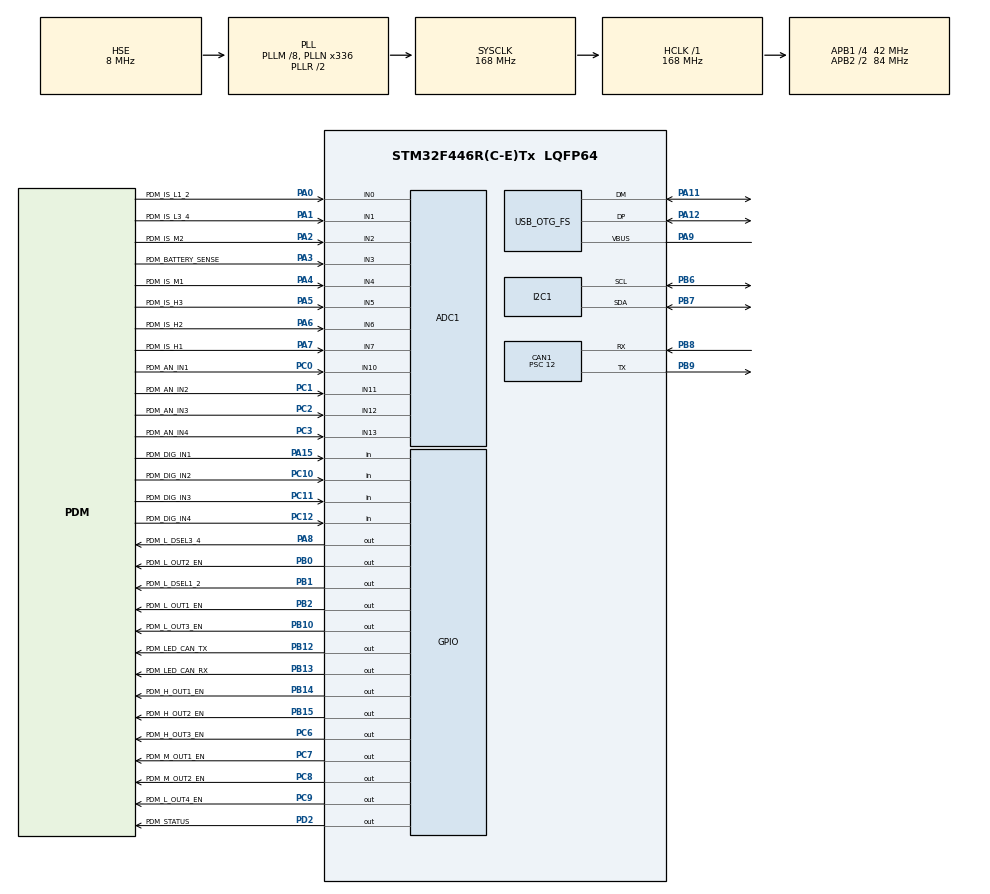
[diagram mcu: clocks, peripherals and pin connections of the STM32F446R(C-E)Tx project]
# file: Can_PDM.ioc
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ADC1.Channel-0\#ChannelRegularConversion=ADC_CHANNEL_7
ADC1.Channel-1\#ChannelRegularConversion=ADC_CHANNEL_6
ADC1.Channel-10\#ChannelRegularConversion=ADC_CHANNEL_13
ADC1.Channel-11\#ChannelRegularConversion=ADC_CHANNEL_3
ADC1.Channel-2\#ChannelRegularConversion=ADC_CHANNEL_5
ADC1.Channel-3\#ChannelRegularConversion=ADC_CHANNEL_4
ADC1.Channel-4\#ChannelRegularConversion=ADC_CHANNEL_2
ADC1.Channel-5\#ChannelRegularConversion=ADC_CHANNEL_0
ADC1.Channel-6\#ChannelRegularConversion=ADC_CHANNEL_1
ADC1.Channel-7\#ChannelRegularConversion=ADC_CHANNEL_10
ADC1.Channel-8\#ChannelRegularConversion=ADC_CHANNEL_11
ADC1.Channel-9\#ChannelRegularConversion=ADC_CHANNEL_12
ADC1.ContinuousConvMode=ENABLE
ADC1.DMAContinuousRequests=ENABLE
ADC1.NbrOfConversion=12
ADC1.NbrOfConversionFlag=1
ADC1.Rank-0\#ChannelRegularConversion=1
ADC1.Rank-1\#ChannelRegularConversion=2
ADC1.Rank-10\#ChannelRegularConversion=11
ADC1.Rank-11\#ChannelRegularConversion=12
ADC1.Rank-2\#ChannelRegularConversion=3
ADC1.Rank-3\#ChannelRegularConversion=4
ADC1.Rank-4\#ChannelRegularConversion=5
ADC1.Rank-5\#ChannelRegularConversion=6
ADC1.Rank-6\#ChannelRegularConversion=7
ADC1.Rank-7\#ChannelRegularConversion=8
ADC1.Rank-8\#ChannelRegularConversion=9
ADC1.Rank-9\#ChannelRegularConversion=10
ADC1.SamplingTime-0\#ChannelRegularConversion=ADC_SAMPLETIME_84CYCLES
ADC1.SamplingTime-1\#ChannelRegularConversion=ADC_SAMPLETIME_84CYCLES
ADC1.SamplingTime-10\#ChannelRegularConversion=ADC_SAMPLETIME_84CYCLES
ADC1.SamplingTime-11\#ChannelRegularConversion=ADC_SAMPLETIME_84CYCLES
ADC1.SamplingTime-2\#ChannelRegularConversion=ADC_SAMPLETIME_84CYCLES
ADC1.SamplingTime-3\#ChannelRegularConversion=ADC_SAMPLETIME_84CYCLES
ADC1.SamplingTime-4\#ChannelRegularConversion=ADC_SAMPLETIME_84CYCLES
ADC1.SamplingTime-5\#ChannelRegularConversion=ADC_SAMPLETIME_84CYCLES
ADC1.SamplingTime-6\#ChannelRegularConversion=ADC_SAMPLETIME_84CYCLES
ADC1.SamplingTime-7\#ChannelRegularConversion=ADC_SAMPLETIME_84CYCLES
ADC1.SamplingTime-8\#ChannelRegularConversion=ADC_SAMPLETIME_84CYCLES
ADC1.SamplingTime-9\#ChannelRegularConversion=ADC_SAMPLETIME_84CYCLES
ADC1.ScanConvMode=ENABLE
ADC1.master=1
CAN1.BS1=CAN_BS1_11TQ
CAN1.BS2=CAN_BS2_2TQ
CAN1.CalculateBaudRate=250000
CAN1.CalculateTimeBit=4000
CAN1.CalculateTimeQuantum=285.7142857142857
CAN1.Prescaler=12
Dma.ADC1.0.Direction=DMA_PERIPH_TO_MEMORY
Dma.ADC1.0.FIFOMode=DMA_FIFOMODE_DISABLE
Dma.ADC1.0.Instance=DMA2_Stream0
Dma.ADC1.0.MemDataAlignment=DMA_MDATAALIGN_HALFWORD
Dma.ADC1.0.MemInc=DMA_MINC_ENABLE
Dma.ADC1.0.Mode=DMA_CIRCULAR
Dma.ADC1.0.PeriphDataAlignment=DMA_PDATAALIGN_HALFWORD
Dma.ADC1.0.PeriphInc=DMA_PINC_DISABLE
Dma.ADC1.0.Priority=DMA_PRIORITY_LOW
Dma.Request0=ADC1
FREERTOS.Tasks01=defaultTask,0,128,StartDefaultTask,Default,NULL,Dynamic,NULL,NULL
Mcu.Family=STM32F4
Mcu.Name=STM32F446R(C-E)Tx
Mcu.Package=LQFP64
NVIC.CAN1_RX0_IRQn=true\:5\:0\:false\:false\:true\:true\:true\:true\:true
NVIC.DMA2_Stream0_IRQn=true\:5\:0\:false\:false\:true\:true\:false\:true\:true
NVIC.OTG_FS_IRQn=true\:5\:0\:false\:false\:true\:true\:false\:true\:true
NVIC.PriorityGroup=NVIC_PRIORITYGROUP_4
NVIC.TIM6_DAC_IRQn=true\:15\:0\:false\:false\:true\:false\:false\:true\:true
NVIC.TimeBase=TIM6_DAC_IRQn
NVIC.TimeBaseIP=TIM6
PA0-WKUP.GPIO_Label=PDM_IS_L1_2
PA0-WKUP.Signal=ADCx_IN0
PA1.GPIO_Label=PDM_IS_L3_4
PA1.Signal=ADCx_IN1
PA11.Mode=Device_Only
PA11.Signal=USB_OTG_FS_DM
PA12.Mode=Device_Only
PA12.Signal=USB_OTG_FS_DP
PA13.Mode=Trace_Asynchronous_SW
PA13.Signal=SYS_JTMS-SWDIO
PA14.Mode=Trace_Asynchronous_SW
PA14.Signal=SYS_JTCK-SWCLK
PA15.GPIO_Label=PDM_DIG_IN1
PA15.Signal=GPIO_Input
PA2.GPIO_Label=PDM_IS_M2
PA2.Signal=ADCx_IN2
PA3.GPIO_Label=PDM_BATTERY_SENSE
PA3.Signal=ADCx_IN3
PA4.GPIO_Label=PDM_IS_M1
PA4.Signal=ADCx_IN4
PA5.GPIO_Label=PDM_IS_H3
PA5.Signal=ADCx_IN5
PA6.GPIO_Label=PDM_IS_H2
PA6.Signal=ADCx_IN6
PA7.GPIO_Label=PDM_IS_H1
PA7.Signal=ADCx_IN7
PA8.GPIO_Label=PDM_L_DSEL3_4
PA8.Signal=GPIO_Output
PA9.Mode=Activate_VBUS
PA9.Signal=USB_OTG_FS_VBUS
PB0.GPIO_Label=PDM_L_OUT2_EN
PB0.Signal=GPIO_Output
PB1.GPIO_Label=PDM_L_DSEL1_2
PB1.Signal=GPIO_Output
PB10.GPIO_Label=PDM_L_OUT3_EN
PB10.Signal=GPIO_Output
PB12.GPIO_Label=PDM_LED_CAN_TX
PB12.Signal=GPIO_Output
PB13.GPIO_Label=PDM_LED_CAN_RX
PB13.Signal=GPIO_Output
PB14.GPIO_Label=PDM_H_OUT1_EN
PB14.Signal=GPIO_Output
PB15.GPIO_Label=PDM_H_OUT2_EN
PB15.Signal=GPIO_Output
PB2.GPIO_Label=PDM_L_OUT1_EN
PB2.Signal=GPIO_Output
PB3.Mode=Trace_Asynchronous_SW
PB3.Signal=SYS_JTDO-SWO
PB6.Mode=I2C
PB6.Signal=I2C1_SCL
PB7.Mode=I2C
PB7.Signal=I2C1_SDA
PB8.Mode=CAN_Activate
PB8.Signal=CAN1_RX
PB9.Mode=CAN_Activate
PB9.Signal=CAN1_TX
PC0.GPIO_Label=PDM_AN_IN1
PC0.Signal=ADCx_IN10
PC1.GPIO_Label=PDM_AN_IN2
PC1.Signal=ADCx_IN11
PC10.GPIO_Label=PDM_DIG_IN2
PC10.Signal=GPIO_Input
PC11.GPIO_Label=PDM_DIG_IN3
PC11.Signal=GPIO_Input
PC12.GPIO_Label=PDM_DIG_IN4
PC12.Signal=GPIO_Input
PC2.GPIO_Label=PDM_AN_IN3
PC2.Signal=ADCx_IN12
PC3.GPIO_Label=PDM_AN_IN4
PC3.Signal=ADCx_IN13
PC6.GPIO_Label=PDM_H_OUT3_EN
PC6.Signal=GPIO_Output
PC7.GPIO_Label=PDM_M_OUT1_EN
PC7.Signal=GPIO_Output
PC8.GPIO_Label=PDM_M_OUT2_EN
PC8.Signal=GPIO_Output
PC9.GPIO_Label=PDM_L_OUT4_EN
PC9.Signal=GPIO_Output
PD2.GPIO_Label=PDM_STATUS
PD2.Signal=GPIO_Output
PH0-OSC_IN.Mode=HSE-External-Oscillator
PH0-OSC_IN.Signal=RCC_OSC_IN
PH1-OSC_OUT.Mode=HSE-External-Oscillator
PH1-OSC_OUT.Signal=RCC_OSC_OUT
ProjectManager.HeapSize=0x200
ProjectManager.StackSize=0x400
ProjectManager.TargetToolchain=STM32CubeIDE
RCC.AHBFreq_Value=168000000
RCC.APB1CLKDivider=RCC_HCLK_DIV4
RCC.APB1Freq_Value=42000000
RCC.APB1TimFreq_Value=84000000
RCC.APB2CLKDivider=RCC_HCLK_DIV2
RCC.APB2Freq_Value=84000000
RCC.APB2TimFreq_Value=168000000
RCC.CortexFreq_Value=168000000
RCC.HCLKFreq_Value=168000000
RCC.HSE_VALUE=8000000
RCC.PLLM=8
RCC.PLLN=336
RCC.PLLQ=7
RCC.SYSCLKFreq_VALUE=168000000
RCC.SYSCLKSource=RCC_SYSCLKSOURCE_PLLRCLK
RCC.USBFreq_Value=48000000
RCC.VCOOutputFreq_Value=336000000
SH.ADCx_IN0.0=ADC1_IN0,IN0
SH.ADCx_IN1.0=ADC1_IN1,IN1
SH.ADCx_IN10.0=ADC1_IN10,IN10
SH.ADCx_IN11.0=ADC1_IN11,IN11
SH.ADCx_IN12.0=ADC1_IN12,IN12
SH.ADCx_IN13.0=ADC1_IN13,IN13
SH.ADCx_IN2.0=ADC1_IN2,IN2
SH.ADCx_IN3.0=ADC1_IN3,IN3
SH.ADCx_IN4.0=ADC1_IN4,IN4
SH.ADCx_IN5.0=ADC1_IN5,IN5
SH.ADCx_IN6.0=ADC1_IN6,IN6
SH.ADCx_IN7.0=ADC1_IN7,IN7
USB_DEVICE.CLASS_NAME_FS=DFU
USB_DEVICE.VirtualMode-DFU_FS=Dfu
USB_DEVICE.VirtualModeFS=Dfu_FS
USB_OTG_FS.VirtualMode=Device_Only
VP_FREERTOS_VS_CMSIS_V1.Mode=CMSIS_V1
VP_SYS_VS_tim6.Mode=TIM6
VP_USB_DEVICE_VS_USB_DEVICE_DFU_FS.Mode=DFU_FS
board=custom

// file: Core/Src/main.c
/* USER CODE BEGIN Header */
/**
  ******************************************************************************
  * @file           : main.c
  * @brief          : Main program body
  ******************************************************************************
  * @attention
  *
  * Copyright (c) 2026 STMicroelectronics.
  * All rights reserved.
  *
  * This software is licensed under terms that can be found in the LICENSE file
  * in the root directory of this software component.
  * If no LICENSE file comes with this software, it is provided AS-IS.
  *
  ******************************************************************************
  */
/* USER CODE END Header */
#include "main.h"
#include "cmsis_os.h"
#include "adc.h"
#include "can.h"
#include "dma.h"
#include "i2c.h"
#include "usb_device.h"
#include "gpio.h"

/* USER CODE BEGIN Includes */
#include "keypad_manager.h"
#include "mcp9808.h"
#include "io_expander.h"
/* USER CODE END Includes */

void SystemClock_Config(void);
void MX_FREERTOS_Init(void);

int main(void)
{

  /* MCU Configuration--------------------------------------------------------*/

  /* Reset of all peripherals, Initializes the Flash interface and the Systick. */
  HAL_Init();

  /* Configure the system clock */
  SystemClock_Config();

  /* Initialize all configured peripherals */
  MX_GPIO_Init();
  MX_DMA_Init();
  MX_ADC1_Init();
  MX_CAN1_Init();
  MX_I2C1_Init();
  /* USER CODE BEGIN 2 */
  HAL_ADC_Start_DMA(&hadc1, (uint32_t*)adcRaw, 12);
  CAN_Manager_Init();
  Keypad_Init();
  IOExpander_Init();
  MCP9808_Init(MCP9808_UPPER_TEMP_LIMIT, MCP9808_CRITICAL_TEMP_LIMIT); //Init mcp9808 and set limit temp for alert led

  /* USER CODE END 2 */

  /* Call init function for freertos objects (in cmsis_os2.c) */
  MX_FREERTOS_Init();

  /* Start scheduler */
  osKernelStart();

  /* We should never get here as control is now taken by the scheduler */

  /* Infinite loop */
  while (1)
  {

  }
}

void SystemClock_Config(void)
{
  RCC_OscInitTypeDef RCC_OscInitStruct = {0};
  RCC_ClkInitTypeDef RCC_ClkInitStruct = {0};

  /** Configure the main internal regulator output voltage
  */
  __HAL_RCC_PWR_CLK_ENABLE();
  __HAL_PWR_VOLTAGESCALING_CONFIG(PWR_REGULATOR_VOLTAGE_SCALE1);

  /** Initializes the RCC Oscillators according to the specified parameters
  * in the RCC_OscInitTypeDef structure.
  */
  RCC_OscInitStruct.OscillatorType = RCC_OSCILLATORTYPE_HSE;
  RCC_OscInitStruct.HSEState = RCC_HSE_ON;
  RCC_OscInitStruct.PLL.PLLState = RCC_PLL_ON;
  RCC_OscInitStruct.PLL.PLLSource = RCC_PLLSOURCE_HSE;
  RCC_OscInitStruct.PLL.PLLM = 8;
  RCC_OscInitStruct.PLL.PLLN = 336;
  RCC_OscInitStruct.PLL.PLLP = RCC_PLLP_DIV2;
  RCC_OscInitStruct.PLL.PLLQ = 7;
  RCC_OscInitStruct.PLL.PLLR = 2;
  if (HAL_RCC_OscConfig(&RCC_OscInitStruct) != HAL_OK)
  {
    Error_Handler();
  }

  /** Initializes the CPU, AHB and APB buses clocks
  */
  RCC_ClkInitStruct.ClockType = RCC_CLOCKTYPE_HCLK|RCC_CLOCKTYPE_SYSCLK
                              |RCC_CLOCKTYPE_PCLK1|RCC_CLOCKTYPE_PCLK2;
  RCC_ClkInitStruct.SYSCLKSource = RCC_SYSCLKSOURCE_PLLRCLK;
  RCC_ClkInitStruct.AHBCLKDivider = RCC_SYSCLK_DIV1;
  RCC_ClkInitStruct.APB1CLKDivider = RCC_HCLK_DIV4;
  RCC_ClkInitStruct.APB2CLKDivider = RCC_HCLK_DIV2;

  if (HAL_RCC_ClockConfig(&RCC_ClkInitStruct, FLASH_LATENCY_5) != HAL_OK)
  {
    Error_Handler();
  }
}

void HAL_TIM_PeriodElapsedCallback(TIM_HandleTypeDef *htim)
{
  if (htim->Instance == TIM6)
  {
    HAL_IncTick();
  }
}

void Error_Handler(void)
{
  __disable_irq();
  while (1)
  {
  }
}

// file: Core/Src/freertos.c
/* USER CODE BEGIN Header */
/**
  ******************************************************************************
  * File Name          : freertos.c
  * Description        : Code for freertos applications
  ******************************************************************************
  * @attention
  *
  * Copyright (c) 2026 STMicroelectronics.
  * All rights reserved.
  *
  * This software is licensed under terms that can be found in the LICENSE file
  * in the root directory of this software component.
  * If no LICENSE file comes with this software, it is provided AS-IS.
  *
  ******************************************************************************
  */
/* USER CODE END Header */

#include "FreeRTOS.h"
#include "task.h"
#include "main.h"
#include "cmsis_os.h"

/* USER CODE BEGIN Includes */
#include "adc_manager.h"
#include "pdm_config.h"
#include "mcp9808.h"
#include "keypad_manager.h"
#include "can_manager.h"
#include "io_expander.h"
/* USER CODE END Includes */

/* USER CODE BEGIN Variables */
osThreadId acquisitionTaskHandle; //Task acquisition for ADC
osThreadId telemetryTaskHandle; //Task telemetry . Send via can Current etc.
osThreadId powerManagerTaskHandle; //Task power manager for activate / deactivate infineon
osThreadId canLedTaskHandle; //Task for can led
osThreadId outputLedTaskHandle; //Task for o0utputs led
/* USER CODE END Variables */
osThreadId defaultTaskHandle;

/* USER CODE BEGIN FunctionPrototypes */
void StartAcquisitionTask(void const * argument); //Task for acquisition
void StartTelemetryTask(void const * argument); //Task telemetry . Send via can Current etc.
void StartPowerManagerTask(void const * argument); //Task PowerManager for activate /deactivate infineon
void StartCanLedTask(void const * argument); //Task for blink can led
void StartOutputLedTask(void const * argument); //Task for outputs led
/* USER CODE END FunctionPrototypes */

void StartDefaultTask(void const * argument);

extern void MX_USB_DEVICE_Init(void);
void MX_FREERTOS_Init(void); /* (MISRA C 2004 rule 8.1) */

/* GetIdleTaskMemory prototype (linked to static allocation support) */
void vApplicationGetIdleTaskMemory( StaticTask_t **ppxIdleTaskTCBBuffer, StackType_t **ppxIdleTaskStackBuffer, uint32_t *pulIdleTaskStackSize );

/* USER CODE BEGIN GET_IDLE_TASK_MEMORY */
static StaticTask_t xIdleTaskTCBBuffer;
static StackType_t xIdleStack[configMINIMAL_STACK_SIZE];

void vApplicationGetIdleTaskMemory( StaticTask_t **ppxIdleTaskTCBBuffer, StackType_t **ppxIdleTaskStackBuffer, uint32_t *pulIdleTaskStackSize )
{
  *ppxIdleTaskTCBBuffer = &xIdleTaskTCBBuffer;
  *ppxIdleTaskStackBuffer = &xIdleStack[0];
  *pulIdleTaskStackSize = configMINIMAL_STACK_SIZE;
  /* place for user code */
}
/* USER CODE END GET_IDLE_TASK_MEMORY */

void MX_FREERTOS_Init(void) {

  /* Create the thread(s) */
  /* definition and creation of defaultTask */
  osThreadDef(defaultTask, StartDefaultTask, osPriorityNormal, 0, 128);
  defaultTaskHandle = osThreadCreate(osThread(defaultTask), NULL);

  /* USER CODE BEGIN RTOS_THREADS */
  /* add threads, ... */
  osThreadDef(acquisitionTask, StartAcquisitionTask, osPriorityAboveNormal, 0, 256);
  acquisitionTaskHandle = osThreadCreate(osThread(acquisitionTask),NULL);

  osThreadDef(telemetryTask,StartTelemetryTask,osPriorityLow,0,256);
  telemetryTaskHandle =osThreadCreate(osThread(telemetryTask),NULL);

  osThreadDef(powerManagerTask,StartPowerManagerTask,osPriorityLow,0,256);
  powerManagerTaskHandle =osThreadCreate(osThread(powerManagerTask),NULL);

  osThreadDef(canLedTask,StartCanLedTask,osPriorityLow,0,256);
  canLedTaskHandle =osThreadCreate(osThread(canLedTask),NULL);

  osThreadDef(outputLedTask,StartOutputLedTask,osPriorityLow,0,256);
  outputLedTaskHandle =osThreadCreate(osThread(outputLedTask),NULL);

  /* USER CODE END RTOS_THREADS */

}

void StartDefaultTask(void const * argument)
{
  /* init code for USB_DEVICE */
  MX_USB_DEVICE_Init();
  for(;;)
  {
    osDelay(1);
  }
}

/* USER CODE BEGIN Application */

//Task acquisition
void StartAcquisitionTask(void const * argument)
{
    for(;;)
    {
        // Update battery voltage
        Batt_Sense = ADC_GetBatteryVoltage();

        // Update PDM temperature
        float temperature;

        if (MCP9808_ReadTemperature(&temperature) == HAL_OK)
        {
            Pdm_Temp = temperature;
        }

        // Update all PROFET currents
        for(uint8_t i = 0; i < 9; i++)
        {
            Profet_UpdateCurrent(profetChannels[i]);
            Profet_CheckFaults(profetChannels[i]);
        }

        osDelay(10);
    }
}

//Task telemetry . Send via can Current etc.
void StartTelemetryTask(void const * argument)
{
    for(;;)
    {
        //Global PDM status
        CAN_SendPDMStatus();
        //Outputs telemetry
        CAN_SendHighOutputsStatus();
        CAN_SendHighOutputsFaults();
        CAN_SendMediumOutputsStatus();
        CAN_SendMediumOutputsFaults();
        CAN_SendLowOutputs1Status();
        CAN_SendLow1OutputsFaults();
        CAN_SendLowOutputs2Status();
        CAN_SendLow2OutputsFaults();
        Keypad_UpdateLEDs();
        osDelay(100);
    }
}

//Task Power manager for activate /deactivate profet
void StartPowerManagerTask(void const * argument)
{
	//Temperature
    static bool criticalThermalShutdownActive = false;
    static bool mediumThermalShutdownActive = false;
    static bool lowThermalShutdownActive = false;
    //battery voltage
    static bool lowVoltageShutdownActive = false;
    static bool mediumVoltageShutdownActive = false;
    static bool criticalVoltageShutdownActive = false;
    for(;;)
    {
        //Default state
        pdmState = PDM_STATE_RUN;

        //Undervoltage warning
        if(Batt_Sense < pdmConfig.underVoltageWarning_V)
        {
            pdmState = PDM_STATE_UNDERVOLTAGE;
        }

        //Overtemperature warning
        if(Pdm_Temp > pdmConfig.overTempWarning_C)
        {
            pdmState = PDM_STATE_OVERTEMP;
        }

        //Activate LOW thermal shutdown
        if(Pdm_Temp > pdmConfig.overTempShutdownLow_C)
        {
            lowThermalShutdownActive = true;
        }

        //Recover from LOW thermal shutdown
        if(Pdm_Temp < pdmConfig.overTempLowRecovery_C)
        {
            lowThermalShutdownActive = false;
        }

        //Activate MEDIUM thermal shutdown
        if(Pdm_Temp > pdmConfig.overTempShutdownMedium_C)
        {
            mediumThermalShutdownActive = true;
        }

        //Recover from MEDIUM thermal shutdown
        if(Pdm_Temp < pdmConfig.overTempMediumRecovery_C)
        {
            mediumThermalShutdownActive = false;
        }

        //Activate critical thermal shutdown
        if(Pdm_Temp > pdmConfig.overTempCritical_C)
        {
            criticalThermalShutdownActive = true;
        }

        //Recover from critical thermal shutdown
        if(Pdm_Temp < pdmConfig.overTempCriticalRecovery_C)
        {
            criticalThermalShutdownActive = false;
        }

        //Battery
        //Activate LOW voltage shutdown
        if(Batt_Sense < pdmConfig.underVoltageShutdownLow_V)
        {
            lowVoltageShutdownActive = true;
        }

        //Recover from LOW voltage shutdown
        if(Batt_Sense > pdmConfig.underVoltageLowRecovery_V)
        {
            lowVoltageShutdownActive = false;
        }

        //Activate MEDIUM voltage shutdown
        if(Batt_Sense < pdmConfig.underVoltageShutdownMedium_V)
        {
            mediumVoltageShutdownActive = true;
        }

        //Recover from MEDIUM voltage shutdown
        if(Batt_Sense > pdmConfig.underVoltageMediumRecovery_V)
        {
            mediumVoltageShutdownActive = false;
        }

        //Recover from Critical voltage
        if(Batt_Sense < pdmConfig.underVoltageCritical_V)
        {
            criticalVoltageShutdownActive = true;
        }

        if(Batt_Sense > pdmConfig.underVoltageCriticalRecovery_V)
        {
            criticalVoltageShutdownActive = false;
        }

        //Process all outputs
        for(uint8_t i = 0; i < 9; i++)
        {
            ProfetChannel_t *channel = profetChannels[i];

            //Skip hard-faulted outputs
            if(CHANNEL_HARD_FAULT(channel))
            {
                Profet_SetState(channel, false);
                continue;
            }
            //LOW thermal shutdown
            if(lowThermalShutdownActive &&
               channel->priority == PDM_PRIORITY_LOW)
            {
                Profet_SetState(channel, false);
                continue;
            }

            //MEDIUM thermal shutdown
            if(mediumThermalShutdownActive &&
               channel->priority >= PDM_PRIORITY_MEDIUM)
            {
                Profet_SetState(channel, false);
                continue;
            }

            //CRITICAL thermal shutdown
            if(criticalThermalShutdownActive)
            {
                Profet_SetState(channel, false);
                continue;
            }

            //UnderVoltage protection
            //LOW voltage shutdown
            if(lowVoltageShutdownActive &&
               channel->priority == PDM_PRIORITY_LOW)
            {
                Profet_SetState(channel, false);
                continue;
            }

            //MEDIUM voltage shutdown
            if(mediumVoltageShutdownActive &&
               channel->priority >= PDM_PRIORITY_MEDIUM)
            {
                Profet_SetState(channel, false);
                continue;
            }

            //critical voltage shutdown
            if(criticalVoltageShutdownActive)
            {
                Profet_SetState(channel, false);
                continue;
            }

            //Apply requested state
            Profet_SetState(channel, channel->requestedState);
        }

        osDelay(100);
    }

}

void StartCanLedTask(void const * argument)
{
    for(;;)
    {
        //CAN TX LED
        if(canTxActivity)
        {
            HAL_GPIO_TogglePin(PDM_LED_CAN_TX_GPIO_Port,PDM_LED_CAN_TX_Pin);
            canTxActivity = false; //Reset tx activity
        }

        //CAN RX LED

        if(canRxActivity)
        {
            HAL_GPIO_TogglePin(PDM_LED_CAN_RX_GPIO_Port,PDM_LED_CAN_RX_Pin);
            canRxActivity = false; //Reset rx activity
        }

        osDelay(25);
    }
}

void StartOutputLedTask(void const * argument)
{
  /* Infinite loop */
  for(;;)
  {
	  IOExpander_Update();
	  osDelay(50);
  }
}

/* USER CODE END Application */
